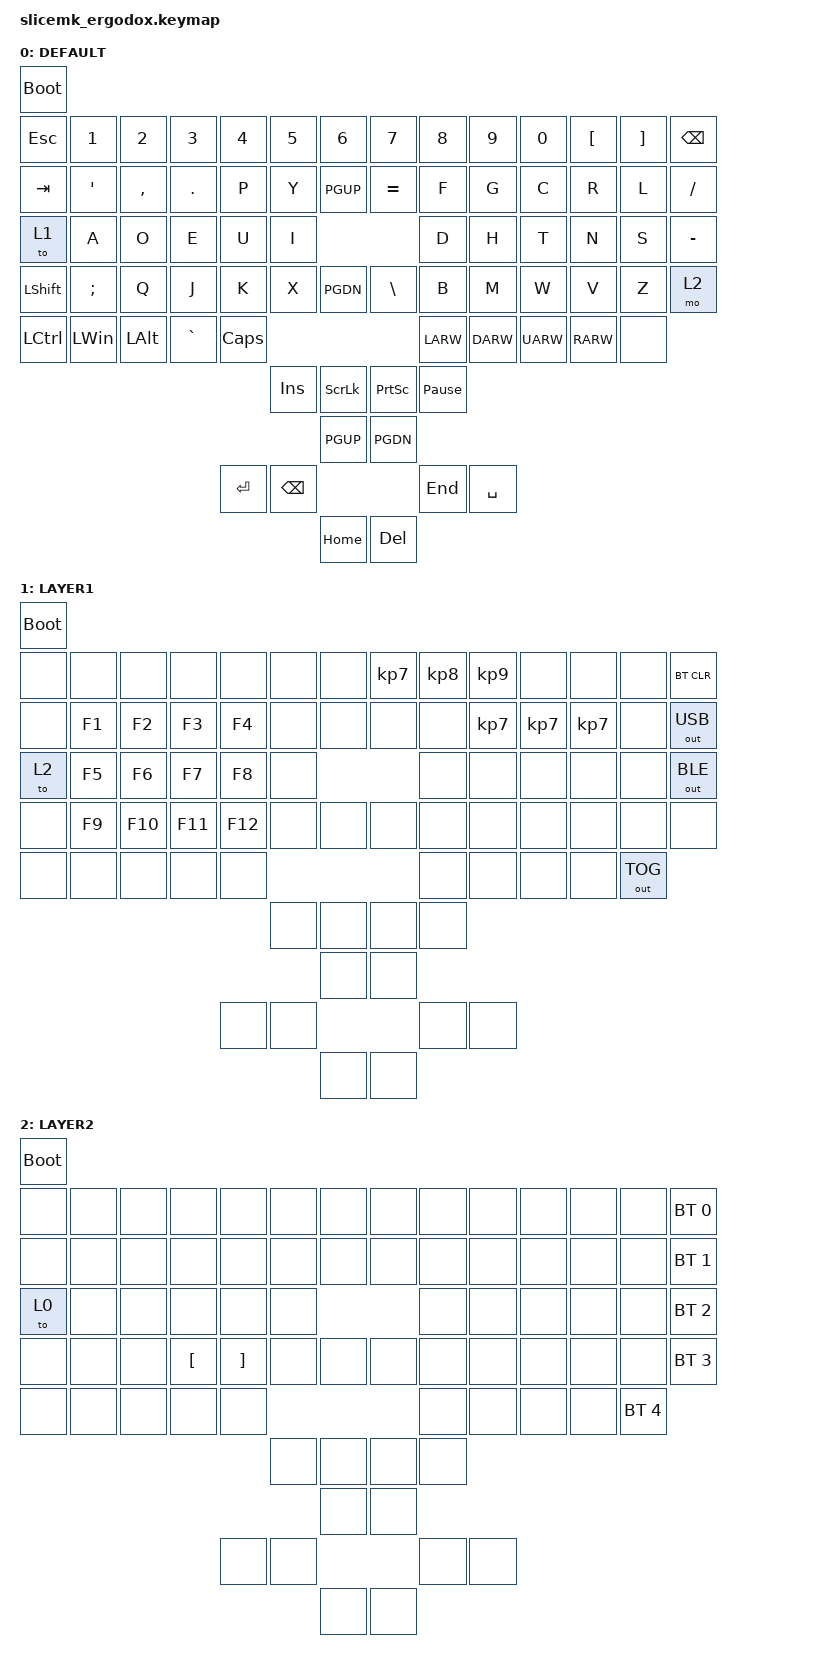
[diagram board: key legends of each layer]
#include <behaviors.dtsi>
#include <dt-bindings/zmk/bt.h>
#include <dt-bindings/zmk/keys.h>
#include <dt-bindings/zmk/outputs.h>
#define DEFAULT 0
#define LAYER1 1
#define LAYER2 2


/ {
        keymap {
                compatible = "zmk,keymap";

                // Dvorak

                DEFAULT {
                        bindings = <
    &bootloader
    &kp ESC   &kp NUM_1  &kp NUM_2  &kp NUM_3  &kp NUM_4  &kp NUM_5  &kp NUM_6   &kp NUM_7      &kp NUM_8  &kp NUM_9  &kp NUM_0  &kp LBKT  &kp RBKT  &kp BKSP
    &kp TAB    &kp SQT      &kp COMMA      &kp DOT      &kp P      &kp Y      &kp PGUP   &kp EQUAL &kp F      &kp G      &kp C      &kp R      &kp L      &kp FSLH
    &to 1    &kp A      &kp O     &kp E      &kp U      &kp I                            &kp D      &kp H      &kp T      &kp N      &kp S   &kp MINUS
    &kp LSHFT      &kp SEMI      &kp Q      &kp J      &kp K      &kp X      &kp PGDN &kp BSLH &kp B      &kp M      &kp W   &kp V    &kp Z   &mo 2
    &kp LCTRL      &kp LWIN      &kp LALT   &kp GRAVE   &kp CAPS                                               &kp LARW   &kp DARW   &kp UARW   &kp RARW      &none
                                                           &kp INS    &kp SLCK   &kp PSCRN    &kp PAUSE_BREAK
                                                                      &kp PGUP   &kp PGDN
                                                &kp RET    &kp BKSP                         &kp END   &kp SPC
                                                                      &kp HOME   &kp DEL
                        >;
                };

                LAYER1 {
                        bindings = <
    &bootloader
    &none      &none      &none      &none      &none      &none      &none      &kp KP_N7      &kp KP_N8      &kp KP_N9      &none      &none      &none      &bt BT_CLR
    &none      &kp F1     &kp F2     &kp F3     &kp F4     &none      &none      &none      &none      &kp KP_N7      &kp KP_N7      &kp KP_N7      &none      &out OUT_USB
    &to 2      &kp F5     &kp F6     &kp F7     &kp F8     &none                            &none      &none      &none      &none      &none      &out OUT_BLE
    &none      &kp F9     &kp F10    &kp F11    &kp F12    &none      &none      &none      &none      &none      &none      &none      &none      &none
    &none      &none      &none      &none      &none                                                  &none      &none      &none      &none      &out OUT_TOG
                                                           &none      &none      &none      &none
                                                                      &none      &none
                                                &none      &none                            &none      &none
                                                                      &none      &none
                        >;
                };

                LAYER2 {
                        bindings = <
    &bootloader
    &none      &none      &none      &none      &none      &none      &none      &none      &none      &none      &none      &none      &none      &bt BT_SEL 0
    &none      &none      &none      &none      &none      &none      &none      &none      &none      &none      &none      &none      &none      &bt BT_SEL 1
    &to 0      &none      &none      &none      &none      &none                            &none      &none      &none      &none      &none      &bt BT_SEL 2
    &none      &none      &none      &kp LBKT   &kp RBKT   &none      &none      &none      &none      &none      &none      &none      &none      &bt BT_SEL 3
    &none      &none      &none      &none      &none                                                  &none      &none      &none      &none      &bt BT_SEL 4
                                                           &none      &none      &none      &none
                                                                      &none      &none
                                                &none      &none                            &none      &none
                                                                      &none      &none
                        >;
                };

        };
};
